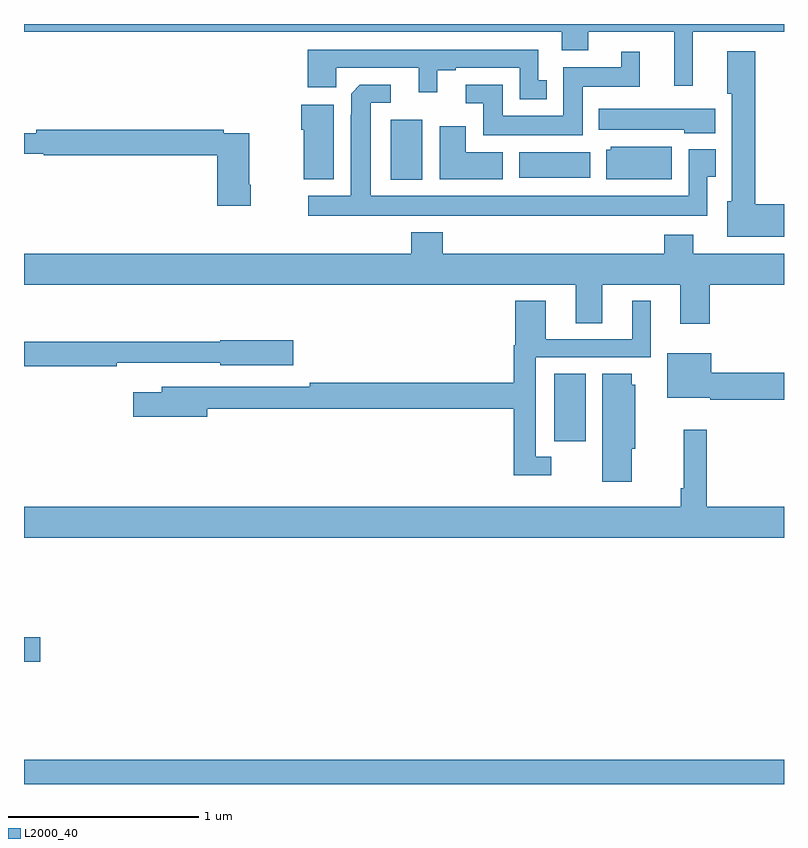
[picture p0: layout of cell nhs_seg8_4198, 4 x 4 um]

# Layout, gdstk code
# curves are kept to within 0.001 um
import gdstk
lib = gdstk.Library(unit=1e-6, precision=1e-09)
def R(c, l, rs):  # rectangles x0, y0, x1, y1
    for r in rs: c.add(gdstk.rectangle(r[:2], r[2:], *l))
def P(c, l, *ps):  # polygons
    for p in ps: c.add(gdstk.Polygon(p, *l))
L2000_40 = (2000, 40)

nhs_seg8_4198 = lib.new_cell('nhs_seg8_4198')
R(nhs_seg8_4198, L2000_40, [(369,1085.9,373,1086.028), (369,1086.544,369.085,1086.673), (371.792,1087.704,371.956,1088.06), (370.931,1089.08,371.095,1089.397), (371.606,1089.092,371.98,1089.226)])
P(nhs_seg8_4198, L2000_40, [(369,1089.86),(371.831,1089.86),(371.831,1089.761),(371.971,1089.761),(371.971,1089.86),(372.422,1089.86),(372.422,1089.576),(372.521,1089.576),(372.521,1089.86),(373,1089.86),(373,1089.9),(369,1089.9)],
  [(371.752,1089.603),(371.706,1089.603),(371.706,1089.765),(370.493,1089.765),(370.493,1089.566),(370.644,1089.566),(370.644,1089.669),(371.078,1089.669),(371.078,1089.54),(371.176,1089.54),(371.176,1089.657),(371.272,1089.657),(371.272,1089.669),(371.61,1089.669),(371.61,1089.503),(371.752,1089.503)],
  [(373,1088.951),(372.848,1088.951),(372.848,1089.757),(372.701,1089.757),(372.701,1089.534),(372.725,1089.534),(372.725,1088.967),(372.701,1088.967),(372.701,1088.78),(373,1088.78)],
  [(371.941,1089.569),(372.242,1089.569),(372.242,1089.754),(372.143,1089.754),(372.143,1089.673),(371.837,1089.673),(371.837,1089.418),(371.521,1089.418),(371.521,1089.579),(371.325,1089.579),(371.325,1089.483),(371.417,1089.483),(371.417,1089.314),(371.941,1089.314)],
  [(372.595,1089.097),(372.64,1089.097),(372.64,1089.241),(372.498,1089.241),(372.498,1088.995),(370.825,1088.995),(370.825,1089.486),(370.93,1089.486),(370.93,1089.579),(370.768,1089.579),(370.722,1089.533),(370.721,1088.995),(370.497,1088.995),(370.497,1088.891),(372.595,1088.891)],
  [(370.63,1089.475),(370.46,1089.475),(370.46,1089.344),(370.472,1089.344),(370.472,1089.083),(370.63,1089.083)],
  [(372.637,1089.454),(372.026,1089.454),(372.026,1089.344),(372.474,1089.344),(372.474,1089.326),(372.637,1089.326)],
  [(371.521,1089.226),(371.326,1089.226),(371.326,1089.361),(371.189,1089.361),(371.189,1089.083),(371.521,1089.083)],
  [(370.194,1089.055),(370.186,1089.055),(370.186,1089.324),(370.052,1089.324),(370.052,1089.344),(369.064,1089.344),(369.064,1089.325),(369,1089.325),(369,1089.216),(369.103,1089.216),(369.103,1089.208),(370.016,1089.208),(370.016,1088.943),(370.194,1088.943)],
  [(372.409,1089.253),(372.087,1089.253),(372.087,1089.237),(372.065,1089.237),(372.065,1089.083),(372.409,1089.083)],
  [(372.608,1088.528),(373,1088.528),(373,1088.692),(372.523,1088.692),(372.523,1088.791),(372.371,1088.791),(372.371,1088.692),(371.204,1088.692),(371.204,1088.803),(371.039,1088.803),(371.039,1088.692),(369,1088.692),(369,1088.528),(371.903,1088.528),(371.903,1088.326),(372.043,1088.326),(372.043,1088.528),(372.455,1088.528),(372.455,1088.322),(372.608,1088.322)],
  [(371.776,1087.623),(371.694,1087.623),(371.694,1088.145),(372.298,1088.145),(372.298,1088.443),(372.2,1088.443),(372.2,1088.241),(371.746,1088.241),(371.746,1088.443),(371.585,1088.443),(371.585,1088.21),(371.578,1088.21),(371.578,1088.012),(370.504,1088.012),(370.504,1087.992),(369.725,1087.992),(369.725,1087.963),(369.576,1087.963),(369.576,1087.834),(369.964,1087.834),(369.964,1087.876),(371.578,1087.876),(371.578,1087.526),(371.776,1087.526)],
  [(369.488,1088.118),(370.032,1088.118),(370.032,1088.105),(370.417,1088.105),(370.417,1088.235),(370.032,1088.235),(370.032,1088.227),(369,1088.227),(369,1088.098),(369.488,1088.098)],
  [(373,1088.064),(372.616,1088.064),(372.616,1088.167),(372.386,1088.167),(372.386,1087.934),(372.612,1087.934),(372.612,1087.922),(373,1087.922)],
  [(372.199,1087.665),(372.217,1087.665),(372.217,1088.001),(372.199,1088.001),(372.199,1088.06),(372.044,1088.06),(372.044,1087.491),(372.199,1087.491)],
  [(373,1087.36),(372.593,1087.36),(372.593,1087.765),(372.472,1087.765),(372.472,1087.456),(372.457,1087.456),(372.457,1087.36),(369,1087.36),(369,1087.196),(373,1087.196)])

lib.write_gds('nhs_seg8_4198.gds')
